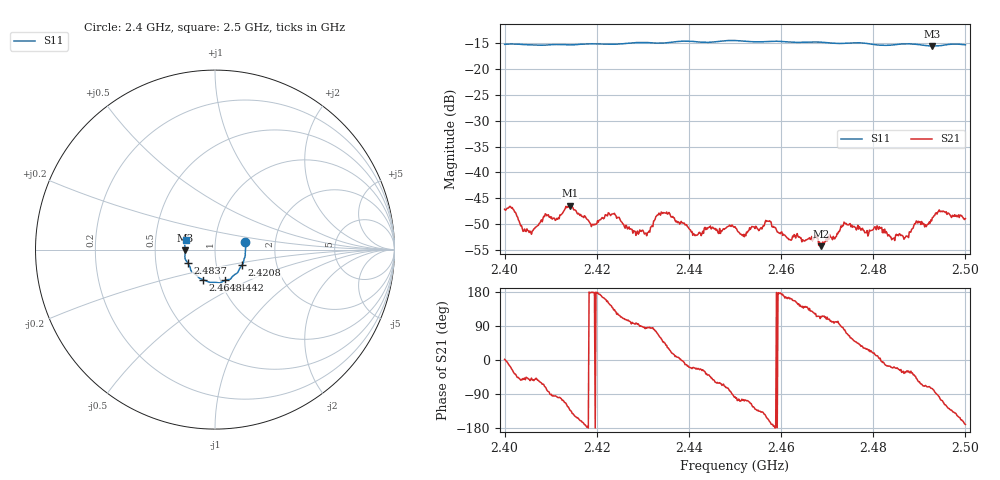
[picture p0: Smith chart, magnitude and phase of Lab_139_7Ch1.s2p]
# Hz S RI R 50
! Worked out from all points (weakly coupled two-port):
!   601 points, 2.4 GHz to 2.5 GHz, reference 50 ohm
!   highest |S21| = -46.38 dB at 2.4142 GHz (marker M1); lowest = -54.2 dB at 2.4687 GHz (marker M2)
!   lowest |S11| = -15.6 dB at 2.4928 GHz (marker M3), VSWR 1.40, Z = 35.8 - j0.338 ohm
!   |S11| at or under -10 dB: start of sweep to end of sweep
!   S12 and S22 are empty: the file has one direction only
!   S11 on the Smith chart (normalised r, x): 2.4 GHz: 1.40, +0.12; 2.4208 GHz: 1.33, -0.24; 2.4442 GHz: 1.05, -0.37; 2.4648 GHz: 0.83, -0.29; 2.4837 GHz: 0.73, -0.11; 2.5 GHz: 0.72, +0.08
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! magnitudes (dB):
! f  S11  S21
! 2.4 GHz  -15.3  -47.1
! 2.4057 GHz  -15.4  -51.5
! 2.4142 GHz  -15.4  -46.4
! 2.4167 GHz  -15.2  -48.4
! 2.4208 GHz  -15.2  -49.1
! 2.4237 GHz  -15.2  -48.0
! 2.4307 GHz  -14.9  -51.7
! 2.4333 GHz  -15.0  -48.2
! 2.4413 GHz  -14.7  -52.2
! 2.4442 GHz  -14.9  -50.6
! 2.45 GHz  -14.5  -50.5
! 2.4518 GHz  -14.7  -52.0
! 2.4572 GHz  -14.7  -49.4
! 2.4648 GHz  -14.9  -53.1
! 2.4667 GHz  -14.8  -52.3
! 2.4687 GHz  -14.8  -54.2
! 2.4738 GHz  -15.1  -49.7
! 2.4833 GHz  -15.5  -52.0
! 2.4837 GHz  -15.4  -52.4
! 2.4928 GHz  -15.6  -48.7
! 2.4947 GHz  -15.5  -47.5
! 2.5 GHz  -15.4  -48.9
